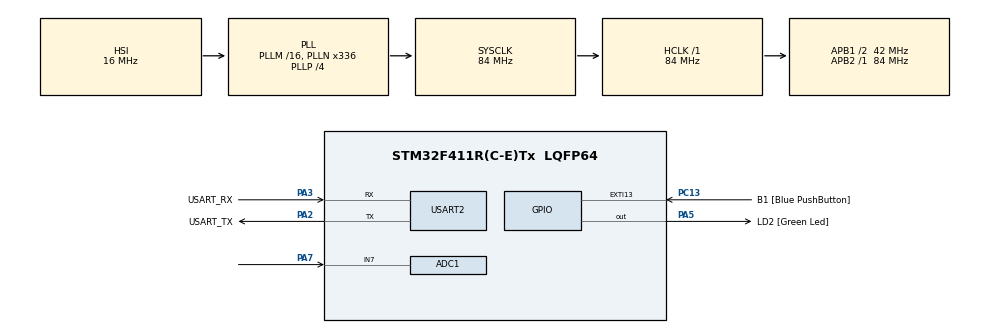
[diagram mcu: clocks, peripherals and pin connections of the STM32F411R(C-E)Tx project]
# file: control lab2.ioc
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ADC1.Channel-0\#ChannelRegularConversion=ADC_CHANNEL_7
ADC1.NbrOfConversionFlag=1
ADC1.Rank-0\#ChannelRegularConversion=1
ADC1.Resolution=ADC_RESOLUTION_12B
ADC1.SamplingTime-0\#ChannelRegularConversion=ADC_SAMPLETIME_3CYCLES
ADC1.master=1
Mcu.Family=STM32F4
Mcu.Name=STM32F411R(C-E)Tx
Mcu.Package=LQFP64
NVIC.PriorityGroup=NVIC_PRIORITYGROUP_0
PA13.GPIO_Label=TMS
PA13.Mode=Serial_Wire
PA13.Signal=SYS_JTMS-SWDIO
PA14.GPIO_Label=TCK
PA14.Mode=Serial_Wire
PA14.Signal=SYS_JTCK-SWCLK
PA2.GPIO_Label=USART_TX
PA2.Mode=Asynchronous
PA2.Signal=USART2_TX
PA3.GPIO_Label=USART_RX
PA3.Mode=Asynchronous
PA3.Signal=USART2_RX
PA5.GPIO_Label=LD2 [Green Led]
PA5.Signal=GPIO_Output
PA7.Signal=ADCx_IN7
PB3.GPIO_Label=SWO
PB3.Signal=SYS_JTDO-SWO
PC13-ANTI_TAMP.GPIO_Label=B1 [Blue PushButton]
PC13-ANTI_TAMP.GPIO_ModeDefaultEXTI=GPIO_MODE_IT_FALLING
PC13-ANTI_TAMP.Signal=GPXTI13
PC14-OSC32_IN.Mode=LSE-External-Oscillator
PC14-OSC32_IN.Signal=RCC_OSC32_IN
PC15-OSC32_OUT.Mode=LSE-External-Oscillator
PC15-OSC32_OUT.Signal=RCC_OSC32_OUT
PH0\ -\ OSC_IN.Mode=HSE-External-Clock-Source
PH0\ -\ OSC_IN.Signal=RCC_OSC_IN
PH1\ -\ OSC_OUT.Mode=HSE-External-Clock-Source
PH1\ -\ OSC_OUT.Signal=RCC_OSC_OUT
ProjectManager.HeapSize=0x200
ProjectManager.StackSize=0x400
ProjectManager.TargetToolchain=STM32CubeIDE
RCC.48MHZClocksFreq_Value=84000000
RCC.AHBFreq_Value=84000000
RCC.APB1CLKDivider=RCC_HCLK_DIV2
RCC.APB1Freq_Value=42000000
RCC.APB1TimFreq_Value=84000000
RCC.APB2Freq_Value=84000000
RCC.APB2TimFreq_Value=84000000
RCC.CortexFreq_Value=84000000
RCC.FLatency-AdvancedSettings=FLASH_LATENCY_2
RCC.HCLKFreq_Value=84000000
RCC.HSE_VALUE=8000000
RCC.HSI_VALUE=16000000
RCC.PLLN=336
RCC.PLLP=RCC_PLLP_DIV4
RCC.SYSCLKFreq_VALUE=84000000
RCC.SYSCLKSource=RCC_SYSCLKSOURCE_PLLCLK
RCC.VCOOutputFreq_Value=336000000
SH.ADCx_IN7.0=ADC1_IN7,IN7
USART2.VirtualMode=VM_ASYNC
board=NUCLEO-F411RE

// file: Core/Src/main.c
/* USER CODE BEGIN Header */
/**
  ******************************************************************************
  * @file           : main.c
  * @brief          : Main program body
  ******************************************************************************
  * @attention
  *
  * Copyright (c) 2022 STMicroelectronics.
  * All rights reserved.
  *
  * This software is licensed under terms that can be found in the LICENSE file
  * in the root directory of this software component.
  * If no LICENSE file comes with this software, it is provided AS-IS.
  *
  ******************************************************************************
  */
/* USER CODE END Header */
#include "main.h"

/* USER CODE BEGIN PM */
float data_read=0;
uint16_t timestamp=0;
uint16_t Hz=20;
float angle=0;
float angle_old=-1;
float angle_oppset=0;
float angle_total=0;
float treshold=0.25*360;
float delta=0;
/* USER CODE END PM */

ADC_HandleTypeDef hadc1;

UART_HandleTypeDef huart2;

void SystemClock_Config(void);
static void MX_GPIO_Init(void);
static void MX_USART2_UART_Init(void);
static void MX_ADC1_Init(void);

int main(void)
{

  /* MCU Configuration--------------------------------------------------------*/

  /* Reset of all peripherals, Initializes the Flash interface and the Systick. */
  HAL_Init();

  /* Configure the system clock */
  SystemClock_Config();

  /* Initialize all configured peripherals */
  MX_GPIO_Init();
  MX_USART2_UART_Init();
  MX_ADC1_Init();

  /* Infinite loop */
  /* USER CODE BEGIN WHILE */
  void ADCPollingmethodUpdate();

  while (1)
  {
	  if(HAL_GetTick() - timestamp >= 50){
		  timestamp=HAL_GetTick();
		  ADCPollingmethodUpdate();
		  angle=data_read/4095*360;

		  if(angle_old != -1){
			  if(angle-angle_old <= -treshold){
				  angle_oppset=angle_oppset+360;
			  }else if (angle-angle_old >= treshold) {
				  angle_oppset=angle_oppset-360;
			  }

		  }

		  angle_total=angle+angle_oppset;
		  delta=angle-angle_old;
		  angle_old=angle;
	  }
    /* USER CODE END WHILE */

  }
}

void SystemClock_Config(void)
{
  RCC_OscInitTypeDef RCC_OscInitStruct = {0};
  RCC_ClkInitTypeDef RCC_ClkInitStruct = {0};

  /** Configure the main internal regulator output voltage
  */
  __HAL_RCC_PWR_CLK_ENABLE();
  __HAL_PWR_VOLTAGESCALING_CONFIG(PWR_REGULATOR_VOLTAGE_SCALE1);
  /** Initializes the RCC Oscillators according to the specified parameters
  * in the RCC_OscInitTypeDef structure.
  */
  RCC_OscInitStruct.OscillatorType = RCC_OSCILLATORTYPE_HSI;
  RCC_OscInitStruct.HSIState = RCC_HSI_ON;
  RCC_OscInitStruct.HSICalibrationValue = RCC_HSICALIBRATION_DEFAULT;
  RCC_OscInitStruct.PLL.PLLState = RCC_PLL_ON;
  RCC_OscInitStruct.PLL.PLLSource = RCC_PLLSOURCE_HSI;
  RCC_OscInitStruct.PLL.PLLM = 16;
  RCC_OscInitStruct.PLL.PLLN = 336;
  RCC_OscInitStruct.PLL.PLLP = RCC_PLLP_DIV4;
  RCC_OscInitStruct.PLL.PLLQ = 4;
  if (HAL_RCC_OscConfig(&RCC_OscInitStruct) != HAL_OK)
  {
    Error_Handler();
  }
  /** Initializes the CPU, AHB and APB buses clocks
  */
  RCC_ClkInitStruct.ClockType = RCC_CLOCKTYPE_HCLK|RCC_CLOCKTYPE_SYSCLK
                              |RCC_CLOCKTYPE_PCLK1|RCC_CLOCKTYPE_PCLK2;
  RCC_ClkInitStruct.SYSCLKSource = RCC_SYSCLKSOURCE_PLLCLK;
  RCC_ClkInitStruct.AHBCLKDivider = RCC_SYSCLK_DIV1;
  RCC_ClkInitStruct.APB1CLKDivider = RCC_HCLK_DIV2;
  RCC_ClkInitStruct.APB2CLKDivider = RCC_HCLK_DIV1;

  if (HAL_RCC_ClockConfig(&RCC_ClkInitStruct, FLASH_LATENCY_2) != HAL_OK)
  {
    Error_Handler();
  }
}

static void MX_ADC1_Init(void)
{

  ADC_ChannelConfTypeDef sConfig = {0};

  /** Configure the global features of the ADC (Clock, Resolution, Data Alignment and number of conversion)
  */
  hadc1.Instance = ADC1;
  hadc1.Init.ClockPrescaler = ADC_CLOCK_SYNC_PCLK_DIV4;
  hadc1.Init.Resolution = ADC_RESOLUTION_12B;
  hadc1.Init.ScanConvMode = DISABLE;
  hadc1.Init.ContinuousConvMode = DISABLE;
  hadc1.Init.DiscontinuousConvMode = DISABLE;
  hadc1.Init.ExternalTrigConvEdge = ADC_EXTERNALTRIGCONVEDGE_NONE;
  hadc1.Init.ExternalTrigConv = ADC_SOFTWARE_START;
  hadc1.Init.DataAlign = ADC_DATAALIGN_RIGHT;
  hadc1.Init.NbrOfConversion = 1;
  hadc1.Init.DMAContinuousRequests = DISABLE;
  hadc1.Init.EOCSelection = ADC_EOC_SINGLE_CONV;
  if (HAL_ADC_Init(&hadc1) != HAL_OK)
  {
    Error_Handler();
  }
  /** Configure for the selected ADC regular channel its corresponding rank in the sequencer and its sample time.
  */
  sConfig.Channel = ADC_CHANNEL_7;
  sConfig.Rank = 1;
  sConfig.SamplingTime = ADC_SAMPLETIME_3CYCLES;
  if (HAL_ADC_ConfigChannel(&hadc1, &sConfig) != HAL_OK)
  {
    Error_Handler();
  }

}

static void MX_USART2_UART_Init(void)
{

  huart2.Instance = USART2;
  huart2.Init.BaudRate = 115200;
  huart2.Init.WordLength = UART_WORDLENGTH_8B;
  huart2.Init.StopBits = UART_STOPBITS_1;
  huart2.Init.Parity = UART_PARITY_NONE;
  huart2.Init.Mode = UART_MODE_TX_RX;
  huart2.Init.HwFlowCtl = UART_HWCONTROL_NONE;
  huart2.Init.OverSampling = UART_OVERSAMPLING_16;
  if (HAL_UART_Init(&huart2) != HAL_OK)
  {
    Error_Handler();
  }

}

static void MX_GPIO_Init(void)
{
  GPIO_InitTypeDef GPIO_InitStruct = {0};

  /* GPIO Ports Clock Enable */
  __HAL_RCC_GPIOC_CLK_ENABLE();
  __HAL_RCC_GPIOH_CLK_ENABLE();
  __HAL_RCC_GPIOA_CLK_ENABLE();
  __HAL_RCC_GPIOB_CLK_ENABLE();

  /*Configure GPIO pin Output Level */
  HAL_GPIO_WritePin(LD2_GPIO_Port, LD2_Pin, GPIO_PIN_RESET);

  /*Configure GPIO pin : B1_Pin */
  GPIO_InitStruct.Pin = B1_Pin;
  GPIO_InitStruct.Mode = GPIO_MODE_IT_FALLING;
  GPIO_InitStruct.Pull = GPIO_NOPULL;
  HAL_GPIO_Init(B1_GPIO_Port, &GPIO_InitStruct);

  /*Configure GPIO pin : LD2_Pin */
  GPIO_InitStruct.Pin = LD2_Pin;
  GPIO_InitStruct.Mode = GPIO_MODE_OUTPUT_PP;
  GPIO_InitStruct.Pull = GPIO_NOPULL;
  GPIO_InitStruct.Speed = GPIO_SPEED_FREQ_LOW;
  HAL_GPIO_Init(LD2_GPIO_Port, &GPIO_InitStruct);

}

/* USER CODE BEGIN 4 */
void ADCPollingmethodUpdate() {
	static ADC_ChannelConfTypeDef sConfig;
	sConfig.Channel = ADC_CHANNEL_7;
	sConfig.Rank = 1;
	sConfig.SamplingTime = ADC_SAMPLETIME_3CYCLES;
	HAL_ADC_ConfigChannel(&hadc1, &sConfig);

	HAL_ADC_Start(&hadc1);
	HAL_ADC_PollForConversion(&hadc1, 10);
	data_read=HAL_ADC_GetValue(&hadc1);
	HAL_ADC_Stop(&hadc1);
}
/* USER CODE END 4 */

void Error_Handler(void)
{
  __disable_irq();
  while (1)
  {
  }
}
